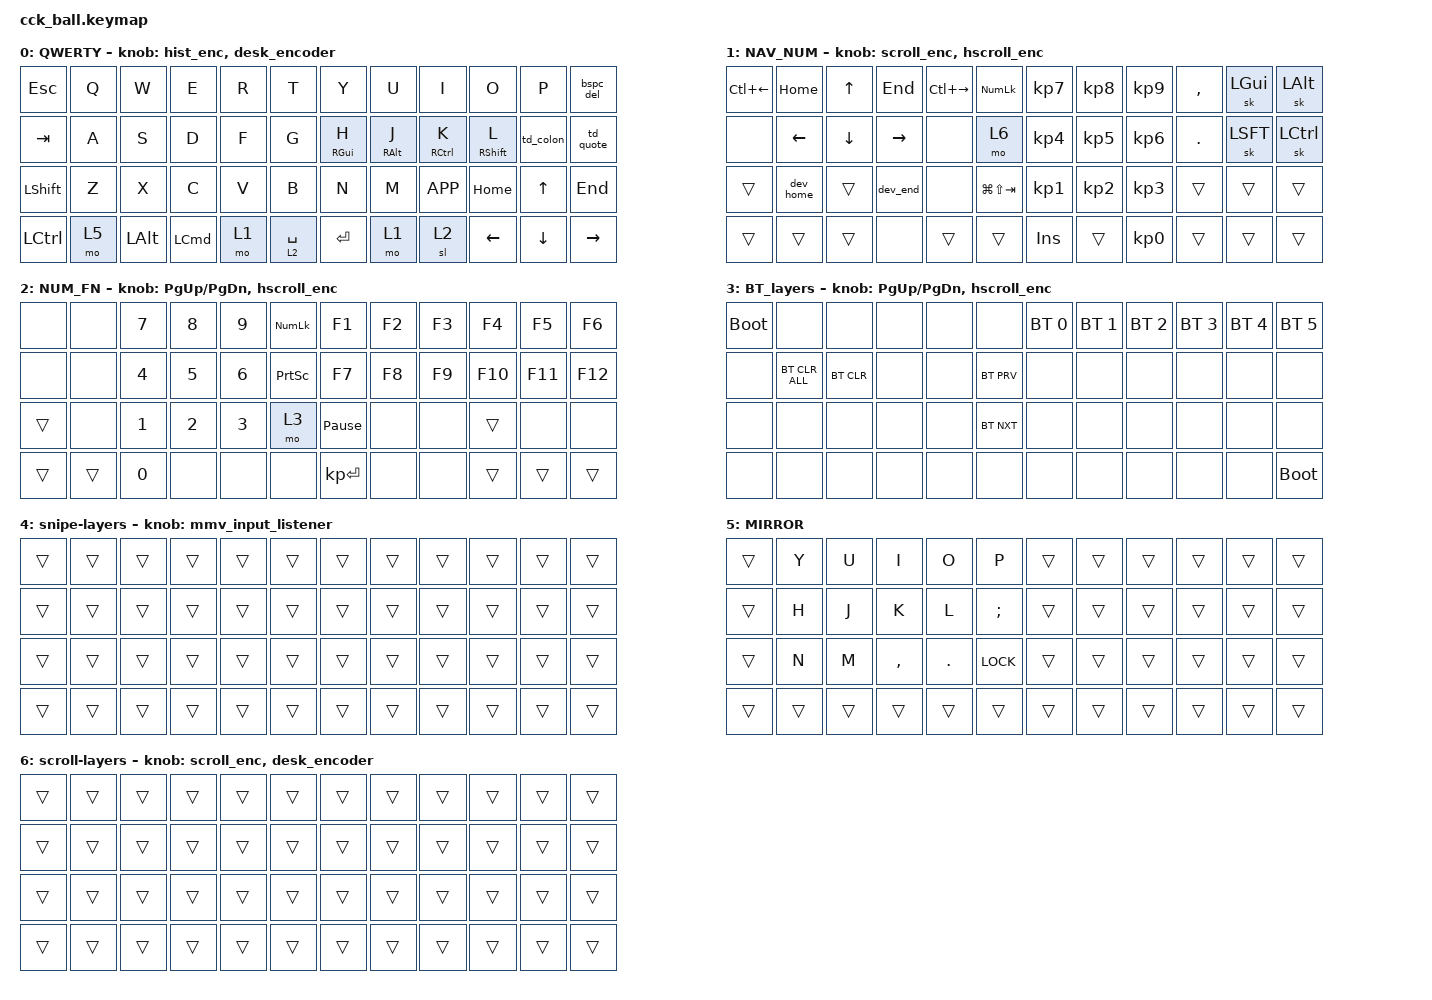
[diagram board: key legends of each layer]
#define ZMK_POINTING_DEFAULT_MOVE_VAL 800
#define ZMK_POINTING_DEFAULT_SCRL_VAL 1

#include <input/processors.dtsi>
#include <zephyr/dt-bindings/input/input-event-codes.h>
#include <behaviors.dtsi>
#include <dt-bindings/zmk/bt.h>
#include <dt-bindings/zmk/keys.h>
#include <dt-bindings/zmk/pointing.h>
#include "private.dtsi"

&mmv_input_listener { input-processors = <&zip_xy_scaler 1 1>; #sensor-binding-cells = <0>; };
&msc_input_listener { input-processors = <&zip_scroll_scaler 1 3>; };

&msc { acceleration-exponent = <0>; time-to-max-speed-ms = <300>; delay-ms = <0>; };
&mmv { time-to-max-speed-ms = <2000>; acceleration-exponent = <0>; trigger-period-ms = <16>; };

&soft_off { hold-time-ms = <2000>; };

/ {
    scroll_enc: scroll_enc {
        compatible = "zmk,behavior-sensor-rotate";
        #sensor-binding-cells = <0>;
        bindings = <&msc SCRL_DOWN>, <&msc SCRL_UP>;
    };

    hscroll_enc: hscroll_enc {
        compatible = "zmk,behavior-sensor-rotate";
        #sensor-binding-cells = <0>;
        bindings = <&msc SCRL_RIGHT>, <&msc SCRL_LEFT>;
    };

    hist_enc: hist_enc {
        compatible = "zmk,behavior-sensor-rotate";
        #sensor-binding-cells = <0>;
        bindings = <&kp LG(RBKT)>, <&kp LG(LBKT)>;
    };

    meth_enc: meth_enc {
        compatible = "zmk,behavior-sensor-rotate";
        #sensor-binding-cells = <0>;
        bindings = <&kp LC(DOWN)>, <&kp LC(UP)>;
    };

    desk_encoder: desk_encoder {
        compatible = "zmk,behavior-sensor-rotate";
        #sensor-binding-cells = <0>;
        bindings = <&kp LC(RIGHT)>, <&kp LC(LEFT)>;
    };

    combos {
        compatible = "zmk,combos";

        combo_enter_spc { timeout-ms = <35>;  key-positions = <29 41>;    bindings = <&kp RET>;     };
        combo_bspc      { timeout-ms = <35>;  key-positions = <17 41>;    bindings = <&kp BSPC>;    };
        combo_del       { timeout-ms = <35>;  key-positions = <5  41>;    bindings = <&kp DEL>;     };
        combo_space     { timeout-ms = <35>;  key-positions = <30 42>;    bindings = <&kp SPACE>;   };
        combo_caps      { timeout-ms = <35>;  key-positions = <24 25 26>; bindings = <&caps_word>;  };
        combo_app       { timeout-ms = <35>;  key-positions = <30 31>;    bindings = <&kp K_APP>;   layers = <0>; };
        combo_soft_off  { timeout-ms = <200>; key-positions = <30 31>;    bindings = <&soft_off>;   layers = <2>; };

        combo_semi  { timeout-ms = <35>; key-positions = <14 27>; bindings = <&kp SEMI>;  };
        combo_comma { timeout-ms = <35>; key-positions = <15 28>; bindings = <&kp COMMA>; };
        combo_dot   { timeout-ms = <35>; key-positions = <16 29>; bindings = <&kp DOT>;   };

        combo_lbrc { timeout-ms = <35>; key-positions = <0  1 >; bindings = <&kp LBKT>; };
        combo_rbrc { timeout-ms = <35>; key-positions = <0  2 >; bindings = <&kp RBKT>; };
        combo_lcbr { timeout-ms = <35>; key-positions = <0 13>;  bindings = <&kp LBRC>;  };
        combo_rcbr { timeout-ms = <35>; key-positions = <0 14>;  bindings = <&kp RBRC>;  };
        combo_lprn { timeout-ms = <35>; key-positions = <0 25>;  bindings = <&kp LPAR>;  };
        combo_rprn { timeout-ms = <35>; key-positions = <0 26>;  bindings = <&kp RPAR>;  };

        combo_slash    { timeout-ms = <35>; key-positions = <4  15 26>; bindings = <&kp FSLH>;  };
        combo_bslash   { timeout-ms = <35>; key-positions = <2  15 28>; bindings = <&kp BSLH>;  };
        combo_pipe     { timeout-ms = <35>; key-positions = <3  15 27>; bindings = <&kp PIPE>;  };
        combo_caret    { timeout-ms = <35>; key-positions = <3  14 16>; bindings = <&kp CARET>; };
        combo_lt       { timeout-ms = <35>; key-positions = <3  14 27>; bindings = <&kp LT>;    };
        combo_gt       { timeout-ms = <35>; key-positions = <3  16 27>; bindings = <&kp GT>;    };
        combo_grave    { timeout-ms = <35>; key-positions = <4  17>;    bindings = <&kp GRAVE>;  };
        combo_tilde    { timeout-ms = <35>; key-positions = <1  16>;    bindings = <&kp TILDE>;  };
        combo_quote    { timeout-ms = <35>; key-positions = <2  4 >;    bindings = <&kp SQT>;    };
        combo_acute      { timeout-ms = <35>; key-positions = <4  15>; bindings = <&kp RA(E)>;   };
        combo_dead_acute { timeout-ms = <35>; key-positions = <5  16>; bindings = <&kp RA(E)>;   };
        combo_hash     { timeout-ms = <35>; key-positions = <3  4  5 >; bindings = <&kp HASH>;  };
        combo_perc     { timeout-ms = <35>; key-positions = <2  28>;    bindings = <&kp PRCNT>;  };
        combo_excl     { timeout-ms = <35>; key-positions = <2  3  16>; bindings = <&kp EXCL>;  };
        combo_ques     { timeout-ms = <35>; key-positions = <4  14 15>; bindings = <&kp QMARK>; };
        combo_dollar   { timeout-ms = <35>; key-positions = <16 26 27>; bindings = <&kp DLLR>;  };
        combo_at       { timeout-ms = <35>; key-positions = <2  15 16>; bindings = <&kp AT>;    };
        combo_amp      { timeout-ms = <35>; key-positions = <15 17>;    bindings = <&kp AMPS>;   };
        combo_star     { timeout-ms = <35>; key-positions = <27 28 29>; bindings = <&kp STAR>;  };
        combo_equal    { timeout-ms = <35>; key-positions = <4  5 >;    bindings = <&kp EQUAL>;  };
        combo_minus    { timeout-ms = <35>; key-positions = <16 17>;    bindings = <&kp MINUS>;  };
        combo_under    { timeout-ms = <35>; key-positions = <28 29>;    bindings = <&kp UNDER>;  };
        combo_plus     { timeout-ms = <35>; key-positions = <15 16 17>; bindings = <&kp PLUS>;  };

        combo_tilde_a { timeout-ms = <35>; key-positions = <13 2 >; bindings = <&accent_a>; };
        combo_tilde_e { timeout-ms = <50>; key-positions = <3  16>; bindings = <&accent_e>; };
        combo_tilde_i { timeout-ms = <35>; key-positions = <8  19>; bindings = <&accent_i>; };
        combo_tilde_o { timeout-ms = <35>; key-positions = <9  20>; bindings = <&accent_o>; };
        combo_tilde_u { timeout-ms = <35>; key-positions = <7  18>; bindings = <&accent_u>; };
        combo_enie    { timeout-ms = <35>; key-positions = <19 30>; bindings = <&accent_n>; };

        combo_mouse_lclk_l { timeout-ms = <35>; key-positions = <5  17>; bindings = <&mkp LCLK>; };
        combo_mouse_rclk_l { timeout-ms = <35>; key-positions = <17 29>; bindings = <&mkp RCLK>; };
        combo_mouse_mclk_l { timeout-ms = <35>; key-positions = <17 28>; bindings = <&mkp MCLK>; };
        combo_mouse_lclk_r { timeout-ms = <35>; key-positions = <18 19>; bindings = <&mkp LCLK>; };
        combo_mouse_rclk_r { timeout-ms = <35>; key-positions = <19 20>; bindings = <&mkp RCLK>; };
        combo_mouse_mclk_r { timeout-ms = <35>; key-positions = <18 20>; bindings = <&mkp MCLK>; };
        combo_mouse_back_r { timeout-ms = <35>; key-positions = <18 31>; bindings = <&mkp MB4>;   };
        combo_mouse_fwd_r  { timeout-ms = <35>; key-positions = <6  19>; bindings = <&mkp MB5>;   };

        combo_desk_left  { timeout-ms = <50>; key-positions = <3  13   >; bindings = <&kp LC(LEFT)>;  };
        combo_desk_right { timeout-ms = <50>; key-positions = <1  15   >; bindings = <&kp LC(RIGHT)>; };
        combo_desk_up    { timeout-ms = <50>; key-positions = <2  13 15>; bindings = <&kp LC(UP)>;    };

        combo_snipe_tog  { timeout-ms = <50>; key-positions = <27 29>; bindings = <&mo 4>; };

        combo_email_gmail { timeout-ms = <50>; key-positions = <13 14 15 16>; bindings = <&macro_email_gmail>; };
        combo_email_work  { timeout-ms = <50>; key-positions = <18 19 20 21>; bindings = <&macro_email_work>;  };
        combo_username    { timeout-ms = <50>; key-positions = <4  7  14  >;  bindings = <&macro_username>;    };
        combo_password    { timeout-ms = <50>; key-positions = <2  10     >;  bindings = <&macro_password>;    };
    };

    behaviors {
        td_colon: td_colon {
            compatible = "zmk,behavior-tap-dance";
            #binding-cells = <0>;
            tapping-term-ms = <200>;
            bindings = <&kp SEMI>, <&kp COLON>;
        };

        td_quote: td_quote {
            compatible = "zmk,behavior-tap-dance";
            #binding-cells = <0>;
            tapping-term-ms = <200>;
            bindings = <&kp SQT>, <&kp DQT>, <&kp AT>;
        };

        paranthesis_dance: paranthesis_dance {
            compatible = "zmk,behavior-tap-dance";
            #binding-cells = <0>;
            tapping-term-ms = <200>;
            bindings = <&ocpar>, <&kp LPAR>, <&kp RPAR>;
        };

        curl_dance: curl_dance {
            compatible = "zmk,behavior-tap-dance";
            #binding-cells = <0>;
            tapping-term-ms = <200>;
            bindings = <&occurl>, <&kp LBRC>, <&kp RBRC>;
        };

        squ_dance: squ_dance {
            compatible = "zmk,behavior-tap-dance";
            #binding-cells = <0>;
            tapping-term-ms = <200>;
            bindings = <&ocsqu>, <&kp LBKT>, <&kp RBKT>;
        };

        ang_dance: ang_dance {
            compatible = "zmk,behavior-tap-dance";
            #binding-cells = <0>;
            tapping-term-ms = <200>;
            bindings = <&ocang>, <&kp LT>, <&kp GT>;
        };

        bspc_del: backspace_delete {
            compatible = "zmk,behavior-mod-morph";
            #binding-cells = <0>;
            bindings = <&kp BSPC>, <&kp DEL>;
            mods = <(MOD_LSFT|MOD_RSFT)>;
        };

        hm: homerow_mods {
            compatible = "zmk,behavior-hold-tap";
            #binding-cells = <2>;
            tapping-term-ms = <280>;
            quick-tap-ms = <175>;
            require-prior-idle-ms = <150>;
            flavor = "balanced";
            bindings = <&kp>, <&kp>;
        };
    };

    macros {
        ocpar:  ocpar  { compatible = "zmk,behavior-macro"; #binding-cells = <0>; bindings = <&macro_tap>, <&kp LPAR &kp RPAR &kp LEFT_ARROW>; };
        occurl: occurl { compatible = "zmk,behavior-macro"; #binding-cells = <0>; bindings = <&macro_tap>, <&kp LBRC &kp RBRC &kp LEFT_ARROW>; };
        ocsqu:  ocsqu  { compatible = "zmk,behavior-macro"; #binding-cells = <0>; bindings = <&macro_tap>, <&kp LBKT &kp RBKT &kp LEFT_ARROW>; };
        ocang:  ocang  { compatible = "zmk,behavior-macro"; #binding-cells = <0>; bindings = <&macro_tap>, <&kp LT   &kp GT   &kp LEFT_ARROW>; };

        dev_home: dev_home {
            compatible = "zmk,behavior-macro";
            #binding-cells = <0>;
            bindings = <&macro_press>, <&kp LCTRL>, <&macro_tap>, <&kp LEFT>, <&macro_release>, <&kp LCTRL>;
        };
        dev_end: dev_end {
            compatible = "zmk,behavior-macro";
            #binding-cells = <0>;
            bindings = <&macro_press>, <&kp LCTRL>, <&macro_tap>, <&kp RIGHT>, <&macro_release>, <&kp LCTRL>;
        };

        accent_a: accent_a { compatible = "zmk,behavior-macro"; #binding-cells = <0>; wait-ms = <50>; tap-ms = <40>; bindings = <&kp RA(E) &kp A>; };
        accent_e: accent_e { compatible = "zmk,behavior-macro"; #binding-cells = <0>; wait-ms = <50>; tap-ms = <40>; bindings = <&kp RA(E) &kp E>; };
        accent_i: accent_i { compatible = "zmk,behavior-macro"; #binding-cells = <0>; wait-ms = <50>; tap-ms = <40>; bindings = <&kp RA(E) &kp I>; };
        accent_o: accent_o { compatible = "zmk,behavior-macro"; #binding-cells = <0>; wait-ms = <50>; tap-ms = <40>; bindings = <&kp RA(E) &kp O>; };
        accent_u: accent_u { compatible = "zmk,behavior-macro"; #binding-cells = <0>; wait-ms = <50>; tap-ms = <40>; bindings = <&kp RA(E) &kp U>; };
        accent_n: accent_n { compatible = "zmk,behavior-macro"; #binding-cells = <0>; wait-ms = <50>; tap-ms = <40>; bindings = <&kp RA(N) &kp N>; };
    };

    keymap {
        compatible = "zmk,keymap";

            // ── Posiciones CCK-BALL (48 teclas) ───────────────────────────────────
    // Fila 0:  0=TAB  1=Q   2=W   3=E   4=R   5=T  |  6=Y   7=U   8=I   9=O  10=P  11=BSPC
    // Fila 1: 12=ESC 13=A  14=S  15=D  16=F  17=G  | 18=H  19=J  20=K  21=L  22=;  23='"
    // Fila 2: 24=LSH 25=Z  26=X  27=C  28=V  29=B  | 30=N  31=M  32=,  33=.  34=UP 35=/
    // Fila 3: 36=CTL 37=MO2 38=ALT 39=CMD 40=MO1 41=SPC | 42=ENT 43=MO1r 44=MO2r 45=← 46=↓ 47=→
    //
    // Thumbs (equiv. Corne):  SPC(40) MO1(41) | MO2(42) ENT(43)
    // Extras CCK-BALL (cmd):  CTL(36) WIN(37) ALT(38) | RALT(44) ←(45) ↓(46) →(47)

        QWERTY {
            bindings = <
&kp ESC     &kp Q    &kp W    &kp E  &kp R  &kp T        &kp Y      &kp U       &kp I         &kp O         &kp P      &bspc_del
&kp TAB     &kp A    &kp S    &kp D  &kp F  &kp G        &hm RGUI H &hm RALT J  &hm RCTRL K   &hm RSHFT L   &td_colon  &td_quote
&kp LSHIFT  &kp Z    &kp X    &kp C  &kp V  &kp B        &kp N      &kp M       &kp K_APP     &kp HOME      &kp UP     &kp END
&kp LCTRL   &mo 5    &kp LALT &kp LCMD   &mo 1  &lt 2 SPACE  &kp ENTER  &mo 1       &sl 2         &kp LEFT      &kp DOWN   &kp RIGHT
            >;
            sensor-bindings = <&hist_enc &desk_encoder>;
        };

        NAV_NUM {
            bindings = <
&kp LC(LEFT) &kp HOME  &kp UP    &kp END    &kp LC(RIGHT) &kp KP_NUM      &kp KP_N7 &kp KP_N8 &kp KP_N9 &kp COMMA &sk LGUI &sk LALT
&none        &kp LEFT  &kp DOWN  &kp RIGHT  &none         &mo 6           &kp KP_N4 &kp KP_N5 &kp KP_N6 &kp DOT   &sk LSFT &sk LCTL
&trans       &dev_home &trans    &dev_end   &none         &kp LG(LS(TAB)) &kp KP_N1 &kp KP_N2 &kp KP_N3 &trans    &trans   &trans
&trans       &trans    &trans    &none      &trans        &trans          &kp INS   &trans    &kp KP_N0 &trans    &trans   &trans
            >;
            sensor-bindings = <&scroll_enc &hscroll_enc>;
        };

        NUM_FN {
            bindings = <
&none   &none  &kp N7  &kp N8  &kp N9  &kp KP_NUM  &kp F1           &kp F2  &kp F3  &kp F4   &kp F5   &kp F6
&none   &none  &kp N4  &kp N5  &kp N6  &kp PSCRN   &kp F7           &kp F8  &kp F9  &kp F10  &kp F11  &kp F12
&trans  &none  &kp N1  &kp N2  &kp N3  &mo 3       &kp PAUSE_BREAK  &none   &none   &trans   &none    &none
&trans  &trans  &kp N0  &none   &none  &none       &kp KP_ENTER     &none   &none   &trans   &trans   &trans
            >;
            sensor-bindings = <&inc_dec_kp PG_UP PG_DN &hscroll_enc>;
        };

        BT_layers {
            bindings = <
&bootloader &none          &none       &none  &none  &none       &bt BT_SEL 0 &bt BT_SEL 1 &bt BT_SEL 2 &bt BT_SEL 3 &bt BT_SEL 4 &bt BT_SEL 5
&none       &bt BT_CLR_ALL &bt BT_CLR  &none  &none  &bt BT_PRV  &none        &none        &none        &none        &none        &none
&none       &none          &none       &none  &none  &bt BT_NXT  &none        &none        &none        &none        &none        &none
&none       &none          &none       &none  &none  &none       &none        &none        &none        &none        &none        &bootloader
            >;
            sensor-bindings = <&inc_dec_kp PG_UP PG_DN &hscroll_enc>;
        };

        snipe-layers {
            bindings = <
&trans  &trans  &trans  &trans  &trans  &trans  &trans  &trans  &trans  &trans  &trans  &trans
&trans  &trans  &trans  &trans  &trans  &trans  &trans  &trans  &trans  &trans  &trans  &trans
&trans  &trans  &trans  &trans  &trans  &trans  &trans  &trans  &trans  &trans  &trans  &trans
&trans  &trans  &trans  &trans  &trans  &trans  &trans  &trans  &trans  &trans  &trans  &trans
            >;
            sensor-bindings = <&mmv_input_listener>;
        };

        MIRROR {
            bindings = <
&trans  &kp Y  &kp U  &kp I      &kp O    &kp P       &trans  &trans  &trans  &trans  &trans  &trans
&trans  &kp H  &kp J  &kp K      &kp L    &kp SEMI    &trans  &trans  &trans  &trans  &trans  &trans
&trans  &kp N  &kp M  &kp COMMA  &kp DOT  &kp K_LOCK  &trans  &trans  &trans  &trans  &trans  &trans
&trans  &trans &trans &trans     &trans   &trans      &trans  &trans  &trans  &trans  &trans  &trans
            >;
        };

        scroll-layers {
            bindings = <
&trans  &trans  &trans  &trans  &trans  &trans  &trans  &trans  &trans  &trans  &trans  &trans
&trans  &trans  &trans  &trans  &trans  &trans  &trans  &trans  &trans  &trans  &trans  &trans
&trans  &trans  &trans  &trans  &trans  &trans  &trans  &trans  &trans  &trans  &trans  &trans
&trans  &trans  &trans  &trans  &trans  &trans  &trans  &trans  &trans  &trans  &trans  &trans
            >;
            sensor-bindings = <&scroll_enc &desk_encoder>;
        };

    };
};
